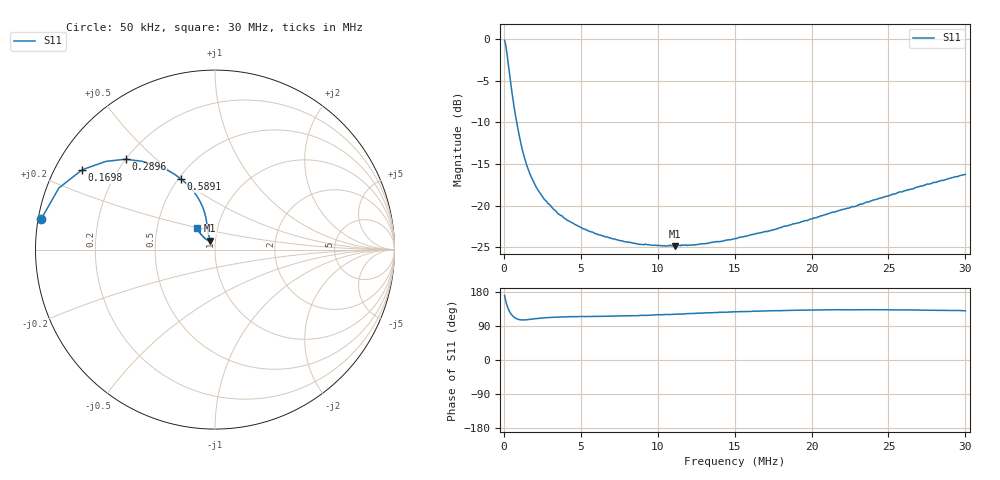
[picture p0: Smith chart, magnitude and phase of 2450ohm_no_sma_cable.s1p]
# HZ S RI R 50
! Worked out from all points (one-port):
!   501 points, 50 kHz to 30 MHz, reference 50 ohm
!   lowest |S11| = -24.9 dB at 11.13 MHz (marker M1), VSWR 1.12, Z = 46.9 + j4.61 ohm
!   |S11| at or under -10 dB: 836.8 kHz to end of sweep
!   S11 on the Smith chart (normalised r, x): 50 kHz: 0.01, +0.09; 169.8 kHz: 0.08, +0.28; 289.6 kHz: 0.20, +0.40; 589.1 kHz: 0.52, +0.50; 30 MHz: 0.80, +0.19
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50000  -0.9684 0.1702
109900  -0.8697 0.3434
169800  -0.7398 0.445
229700  -0.6081 0.4914
289600  -0.4981 0.5037
349500  -0.405 0.4916
409400  -0.3294 0.4705
469300  -0.2703 0.445
589100  -0.1896 0.3936
768800  -0.1182 0.3226
1008400  -0.0746 0.2503
1367800  -0.0514 0.1829
1727200  -0.0456 0.1454
2146500  -0.0421 0.1198
2565800  -0.0396 0.1036
3224700  -0.0371 0.0875
3823700  -0.0345 0.0786
5500900  -0.0296 0.0637
7537500  -0.0273 0.0551
8975100  -0.0273 0.0516
1.11315e7  -0.0292 0.0489
1.13112e7  -0.0296 0.0494
1.31681e7  -0.0335 0.0488
1.5025e7  -0.0383 0.0505
1.87987e7  -0.051 0.0584
2.25125e7  -0.0656 0.0718
2.62862e7  -0.0832 0.0919
3e7  -0.0987 0.1182
